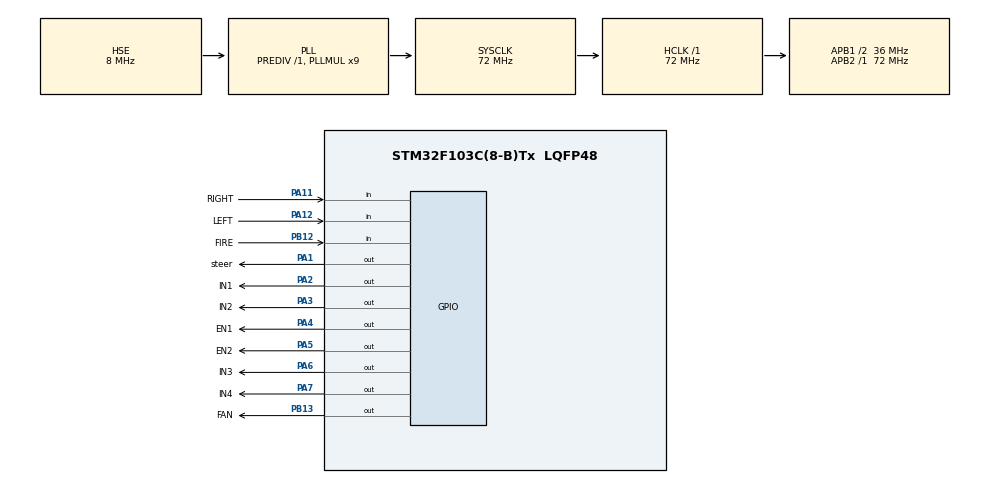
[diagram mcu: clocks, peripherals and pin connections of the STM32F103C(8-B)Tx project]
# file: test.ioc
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Mcu.Family=STM32F1
Mcu.Name=STM32F103C(8-B)Tx
Mcu.Package=LQFP48
NVIC.PriorityGroup=NVIC_PRIORITYGROUP_2
NVIC.TIM1_UP_IRQn=true\:0\:0\:false\:false\:true\:true\:true\:true
PA1.GPIO_Label=steer
PA1.GPIO_Speed=GPIO_SPEED_FREQ_HIGH
PA1.Signal=GPIO_Output
PA11.GPIO_Label=RIGHT
PA11.GPIO_PuPd=GPIO_PULLUP
PA11.Signal=GPIO_Input
PA12.GPIO_Label=LEFT
PA12.Signal=GPIO_Input
PA13.Mode=Serial_Wire
PA13.Signal=SYS_JTMS-SWDIO
PA14.Mode=Serial_Wire
PA14.Signal=SYS_JTCK-SWCLK
PA2.GPIO_Label=IN1
PA2.GPIO_Speed=GPIO_SPEED_FREQ_HIGH
PA2.PinState=GPIO_PIN_SET
PA2.Signal=GPIO_Output
PA3.GPIO_Label=IN2
PA3.GPIO_Speed=GPIO_SPEED_FREQ_HIGH
PA3.PinState=GPIO_PIN_SET
PA3.Signal=GPIO_Output
PA4.GPIO_Label=EN1
PA4.GPIO_Speed=GPIO_SPEED_FREQ_HIGH
PA4.PinState=GPIO_PIN_SET
PA4.Signal=GPIO_Output
PA5.GPIO_Label=EN2
PA5.GPIO_Speed=GPIO_SPEED_FREQ_HIGH
PA5.PinState=GPIO_PIN_SET
PA5.Signal=GPIO_Output
PA6.GPIO_Label=IN3
PA6.GPIO_Speed=GPIO_SPEED_FREQ_HIGH
PA6.PinState=GPIO_PIN_SET
PA6.Signal=GPIO_Output
PA7.GPIO_Label=IN4
PA7.GPIO_Speed=GPIO_SPEED_FREQ_HIGH
PA7.PinState=GPIO_PIN_SET
PA7.Signal=GPIO_Output
PB12.GPIO_Label=FIRE
PB12.GPIO_PuPd=GPIO_PULLUP
PB12.Signal=GPIO_Input
PB13.GPIO_Label=FAN
PB13.GPIO_Speed=GPIO_SPEED_FREQ_HIGH
PB13.PinState=GPIO_PIN_RESET
PB13.Signal=GPIO_Output
PC14-OSC32_IN.Mode=LSE-External-Oscillator
PC14-OSC32_IN.Signal=RCC_OSC32_IN
PC15-OSC32_OUT.Mode=LSE-External-Oscillator
PC15-OSC32_OUT.Signal=RCC_OSC32_OUT
PD0-OSC_IN.Mode=HSE-External-Oscillator
PD0-OSC_IN.Signal=RCC_OSC_IN
PD1-OSC_OUT.Mode=HSE-External-Oscillator
PD1-OSC_OUT.Signal=RCC_OSC_OUT
ProjectManager.HeapSize=0x200
ProjectManager.StackSize=0x400
ProjectManager.TargetToolchain=MDK-ARM V5
RCC.AHBFreq_Value=72000000
RCC.APB1CLKDivider=RCC_HCLK_DIV2
RCC.APB1Freq_Value=36000000
RCC.APB1TimFreq_Value=72000000
RCC.APB2Freq_Value=72000000
RCC.APB2TimFreq_Value=72000000
RCC.HCLKFreq_Value=72000000
RCC.PLLMUL=RCC_PLL_MUL9
RCC.PLLSourceVirtual=RCC_PLLSOURCE_HSE
RCC.SYSCLKFreq_VALUE=72000000
RCC.SYSCLKSource=RCC_SYSCLKSOURCE_PLLCLK
RCC.USBFreq_Value=72000000
TIM1.Period=9
TIM1.Prescaler=71
VP_TIM1_VS_ClockSourceINT.Mode=Internal
board=custom

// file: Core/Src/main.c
/* USER CODE BEGIN Header */
/**
  ******************************************************************************
  * @file           : main.c
  * @brief          : Main program body
  ******************************************************************************
  * @attention
  *
  * Copyright (c) 2023 STMicroelectronics.
  * All rights reserved.
  *
  * This software is licensed under terms that can be found in the LICENSE file
  * in the root directory of this software component.
  * If no LICENSE file comes with this software, it is provided AS-IS.
  *
  ******************************************************************************
  */
/* USER CODE END Header */
#include "main.h"
#include "tim.h"
#include "gpio.h"

/* USER CODE BEGIN Includes */
#include <stdbool.h>
/* USER CODE END Includes */

void SystemClock_Config(void);

/* USER CODE BEGIN 0 */
void forward(void);//前进
void back(void);//后退
void left_turn(void);//左转
void right_turn(void);//右转
void stop(void);//停车
void circle_left(void);//原地向左转圈
void circle_right(void);//原地向右转圈

bool black_right(void);//右侧有黑
bool black_left(void);//左侧有黑

int pwmval_left_init = 500;//控制转速,值为0-2000之间,值越大速度越快
int pwmval_right_init = 500;
int pwmval_left = 0;
int pwmval_right = 0;
void left_moto(void);
void right_moto(void);

int Angle = 90;//舵机角度
int num = 0;
int time = 0;//运行毫秒数
void HAL_TIM_PeriodElapsedCallback(TIM_HandleTypeDef *htim)//10us一次中断
{
	if(TIM1 == htim->Instance)//舵机控制
	{
		num++;
		if(num <= (Angle * 11 + 500)/10)
		{
			HAL_GPIO_WritePin(steer_GPIO_Port, steer_Pin, GPIO_PIN_SET);
		}
		else
		{
			HAL_GPIO_WritePin(steer_GPIO_Port, steer_Pin, GPIO_PIN_RESET);
		}
		if(num >= 2000) //2000*10us=20ms  20ms一个周期
		{
			num = 0;
		}
		if(num % 100 == 0)
		{
			time++;
			if(time > 10000)
				time = 0;
		}
		left_moto();
		right_moto();
	}
}
/* USER CODE END 0 */

int main(void)
{

  /* MCU Configuration--------------------------------------------------------*/

  /* Reset of all peripherals, Initializes the Flash interface and the Systick. */
  HAL_Init();

  /* Configure the system clock */
  SystemClock_Config();

  /* Initialize all configured peripherals */
  MX_GPIO_Init();
  MX_TIM1_Init();
  /* USER CODE BEGIN 2 */
	HAL_TIM_Base_Start_IT(&htim1);//启动定时器
	HAL_GPIO_WritePin(FAN_GPIO_Port, FAN_Pin, GPIO_PIN_RESET);//风扇停止
	int turn = 0;
	int nofire_time = 0;
	bool fire = false;
  /* USER CODE END 2 */

  /* Infinite loop */
  /* USER CODE BEGIN WHILE */
  while (1)
  {
		if(HAL_GPIO_ReadPin(FIRE_GPIO_Port, FIRE_Pin) == GPIO_PIN_RESET)//检测到火焰
		{
			fire = true;
			if(time >= 50)
			{
				time = 0;
				if(turn == 1)
					Angle += 10;
				else
					Angle -= 10;
				if(Angle >= 135)
					turn = 0;
				if(Angle <= 45)
					turn = 1;
			}
			stop();
			HAL_GPIO_WritePin(FAN_GPIO_Port, FAN_Pin, GPIO_PIN_SET);
		}
		else
		{
			if(time - nofire_time >= 300)//没有火焰后过去了300ms
			{
				Angle = 90;
				HAL_GPIO_WritePin(FAN_GPIO_Port, FAN_Pin, GPIO_PIN_RESET);
				//巡黑线源码
				if(((black_left()==0)&&(black_right()==0))||((black_left()==1)&&(black_right()==1)))//两边都没有感应到黑线或者两边都有黑线
				{
					forward();
				}
				else
				{
				 if((black_left()==1)&&(black_right()==0))
				 {
					HAL_Delay(5);
					if((black_left()==1)&&(black_right() == 0))
					{
						circle_left();
					}
				 }
				 if((black_right()==1)&&(black_left()==0))
				 {
					HAL_Delay(5);
					if((black_right()==1)&&(black_left()==0))
					{
					 circle_right();
					}
				 }
				}
			}
			if(fire)
			{
				nofire_time = time;
				fire = false;
			}
		}
	}
    /* USER CODE END WHILE */

}

void SystemClock_Config(void)
{
  RCC_OscInitTypeDef RCC_OscInitStruct = {0};
  RCC_ClkInitTypeDef RCC_ClkInitStruct = {0};

  /** Initializes the RCC Oscillators according to the specified parameters
  * in the RCC_OscInitTypeDef structure.
  */
  RCC_OscInitStruct.OscillatorType = RCC_OSCILLATORTYPE_HSE;
  RCC_OscInitStruct.HSEState = RCC_HSE_ON;
  RCC_OscInitStruct.HSEPredivValue = RCC_HSE_PREDIV_DIV1;
  RCC_OscInitStruct.HSIState = RCC_HSI_ON;
  RCC_OscInitStruct.PLL.PLLState = RCC_PLL_ON;
  RCC_OscInitStruct.PLL.PLLSource = RCC_PLLSOURCE_HSE;
  RCC_OscInitStruct.PLL.PLLMUL = RCC_PLL_MUL9;
  if (HAL_RCC_OscConfig(&RCC_OscInitStruct) != HAL_OK)
  {
    Error_Handler();
  }

  /** Initializes the CPU, AHB and APB buses clocks
  */
  RCC_ClkInitStruct.ClockType = RCC_CLOCKTYPE_HCLK|RCC_CLOCKTYPE_SYSCLK
                              |RCC_CLOCKTYPE_PCLK1|RCC_CLOCKTYPE_PCLK2;
  RCC_ClkInitStruct.SYSCLKSource = RCC_SYSCLKSOURCE_PLLCLK;
  RCC_ClkInitStruct.AHBCLKDivider = RCC_SYSCLK_DIV1;
  RCC_ClkInitStruct.APB1CLKDivider = RCC_HCLK_DIV2;
  RCC_ClkInitStruct.APB2CLKDivider = RCC_HCLK_DIV1;

  if (HAL_RCC_ClockConfig(&RCC_ClkInitStruct, FLASH_LATENCY_2) != HAL_OK)
  {
    Error_Handler();
  }
}

/* USER CODE BEGIN 4 */
void forward(void)                      //小车前进控制函数
{
 HAL_GPIO_WritePin(GPIOA, IN1_Pin, GPIO_PIN_RESET);
 HAL_GPIO_WritePin(GPIOA, IN2_Pin, GPIO_PIN_SET);

 HAL_GPIO_WritePin(GPIOA, IN3_Pin, GPIO_PIN_SET);
 HAL_GPIO_WritePin(GPIOA, IN4_Pin, GPIO_PIN_RESET);
}
void back(void)			                    //小车后退控制函数
{
 HAL_GPIO_WritePin(GPIOA, IN1_Pin, GPIO_PIN_SET);
 HAL_GPIO_WritePin(GPIOA, IN2_Pin, GPIO_PIN_RESET);

 HAL_GPIO_WritePin(GPIOA, IN3_Pin, GPIO_PIN_RESET);
 HAL_GPIO_WritePin(GPIOA, IN4_Pin, GPIO_PIN_SET);
}

void left_turn(void)	                  //向左转
{
 HAL_GPIO_WritePin(GPIOA, IN1_Pin, GPIO_PIN_RESET);
 HAL_GPIO_WritePin(GPIOA, IN2_Pin, GPIO_PIN_RESET);

 HAL_GPIO_WritePin(GPIOA, IN3_Pin, GPIO_PIN_SET);
 HAL_GPIO_WritePin(GPIOA, IN4_Pin, GPIO_PIN_RESET);
}

void right_turn(void)		                //向右转
{
 HAL_GPIO_WritePin(GPIOA, IN1_Pin, GPIO_PIN_RESET);
 HAL_GPIO_WritePin(GPIOA, IN2_Pin, GPIO_PIN_SET);

 HAL_GPIO_WritePin(GPIOA, IN3_Pin, GPIO_PIN_RESET);
 HAL_GPIO_WritePin(GPIOA, IN4_Pin, GPIO_PIN_RESET);
}

void stop(void)			                    //停车
{
 HAL_GPIO_WritePin(GPIOA, IN1_Pin, GPIO_PIN_RESET);
 HAL_GPIO_WritePin(GPIOA, IN2_Pin, GPIO_PIN_RESET);

 HAL_GPIO_WritePin(GPIOA, IN3_Pin, GPIO_PIN_RESET);
 HAL_GPIO_WritePin(GPIOA, IN4_Pin, GPIO_PIN_RESET);
}

void circle_left(void)		              //原地向左转圈
{
 HAL_GPIO_WritePin(GPIOA, IN1_Pin, GPIO_PIN_SET);
 HAL_GPIO_WritePin(GPIOA, IN2_Pin, GPIO_PIN_RESET);

 HAL_GPIO_WritePin(GPIOA, IN3_Pin, GPIO_PIN_SET);
 HAL_GPIO_WritePin(GPIOA, IN4_Pin, GPIO_PIN_RESET);
}
void circle_right(void)		 	            //原地向右转圈
{
 HAL_GPIO_WritePin(GPIOA, IN1_Pin, GPIO_PIN_RESET);
 HAL_GPIO_WritePin(GPIOA, IN2_Pin, GPIO_PIN_SET);

 HAL_GPIO_WritePin(GPIOA, IN3_Pin, GPIO_PIN_RESET);
 HAL_GPIO_WritePin(GPIOA, IN4_Pin, GPIO_PIN_SET);
}
bool black_right(void)
{
	if(HAL_GPIO_ReadPin(RIGHT_GPIO_Port,RIGHT_Pin) == GPIO_PIN_SET)
		return true;
	return false;
}
bool black_left(void)
{
	if(HAL_GPIO_ReadPin(LEFT_GPIO_Port,LEFT_Pin) == GPIO_PIN_SET)
		return true;
	return false;
}
void left_moto(void)                    //左电机调速函数
{
	pwmval_left++;
	if(pwmval_left <= pwmval_left_init)
	{
		HAL_GPIO_WritePin(GPIOA, EN2_Pin, GPIO_PIN_SET);
	}
	else
	{
		HAL_GPIO_WritePin(GPIOA, EN2_Pin, GPIO_PIN_RESET);
	}
	if(pwmval_left >= 2000)
	{
		pwmval_left = 0;
	}
}
void right_moto(void)                   //右电机调速函数
{
	pwmval_right++;
  if(pwmval_right <= pwmval_right_init)
  {
		HAL_GPIO_WritePin(GPIOA, EN1_Pin, GPIO_PIN_SET);
  }
  else if(pwmval_right > pwmval_right_init)
  {
		HAL_GPIO_WritePin(GPIOA, EN1_Pin, GPIO_PIN_RESET);
  }
  if(pwmval_right >= 2000)
  {
		pwmval_right = 0;
  }
}
/* USER CODE END 4 */

void Error_Handler(void)
{
  __disable_irq();
  while (1)
  {
  }
}
